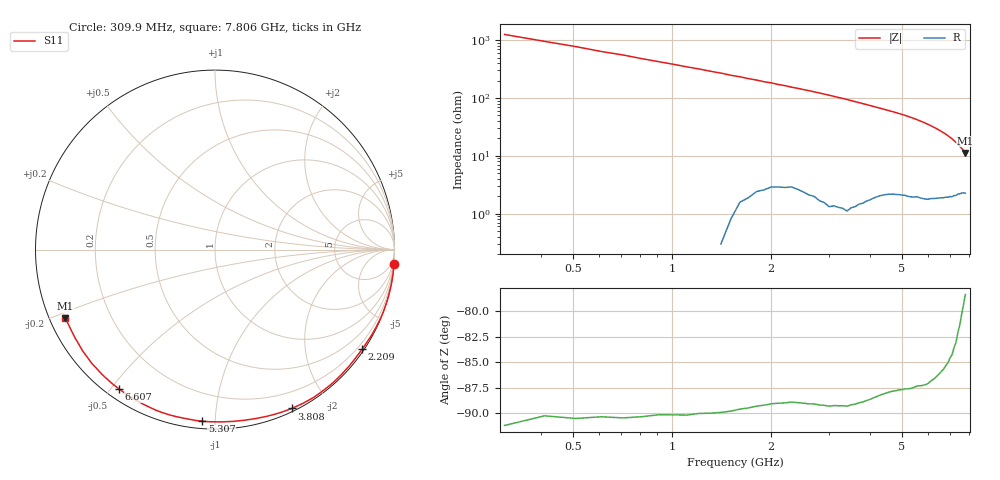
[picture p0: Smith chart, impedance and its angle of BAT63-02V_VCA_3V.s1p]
! Infineon Technologies  Discrete & RF Semiconductors
! BAT63-02V
! VCA = 3 V
! One-Port S-Parameters
# Hz  S  MA  R  50
!f  S11
!Hz  Mag  Ang
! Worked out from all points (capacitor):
!   76 points, 309.9 MHz to 7.806 GHz, reference 50 ohm
!   read as one part to ground: C = 408 fF near 309.9 MHz
!   lowest |Z| = 11.1 ohm at 7.806 GHz (marker M1)
!   S11 on the Smith chart (normalised r, x): 309.9 MHz: -1, -25; 2.209 GHz: 0.06, -3.26; 3.808 GHz: 0.03, -1.59; 5.307 GHz: 0.04, -0.93; 6.607 GHz: 0.04, -0.52; 7.806 GHz: 0.05, -0.22
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3.0985e8  1.002 -4.6
8.096e8  1.001 -11.9
1.30935e9  1 -19.6
1.6092e9  0.9972 -24.3
1.90905e9  0.9934 -29.4
2.009e9  0.9919 -30.7
2.2089e9  0.9903 -34.1
2.30885e9  0.989 -36.1
2.6087e9  0.9897 -41.0
2.8086e9  0.9904 -44.6
3.0085e9  0.9912 -48.3
3.2084e9  0.9901 -52.2
3.4083e9  0.9902 -56.1
3.8081e9  0.983 -64.2
4.10795e9  0.9756 -70.2
4.4078e9  0.9685 -76.2
4.6077e9  0.9647 -80.1
5.0075e9  0.9607 -87.9
5.30735e9  0.9587 -94.2
5.70715e9  0.9554 -103.1
6.007e9  0.9536 -110.0
6.30685e9  0.9481 -117.3
6.6067e9  0.9425 -124.6
6.90655e9  0.938 -132.1
7.10645e9  0.9344 -137.3
7.30635e9  0.9287 -142.5
7.6062e9  0.9187 -150.4
7.8061e9  0.9176 -155.3
